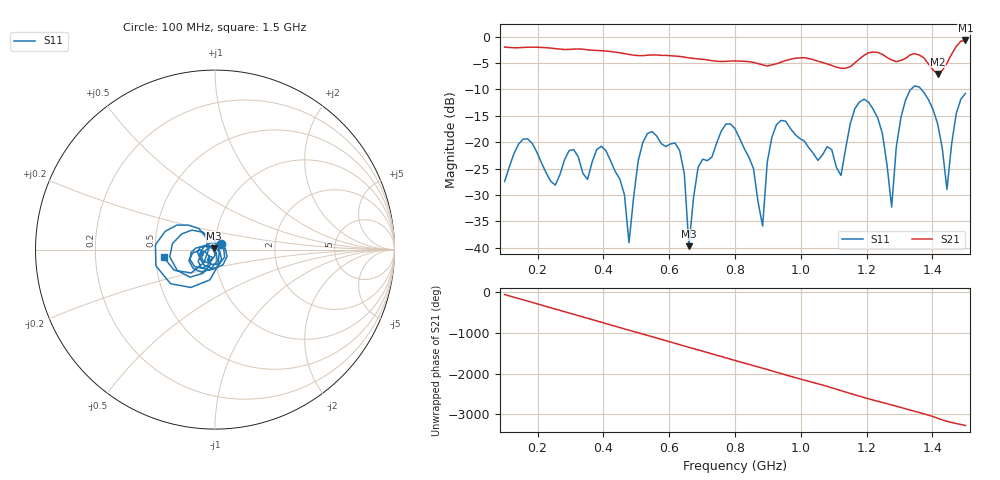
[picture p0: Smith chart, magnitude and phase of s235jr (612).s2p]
! NanoVNA-App
! Date: 2025-09-25 15:08:56
! Start: 100MHz Stop: 1,5GHz Points: 101
! S-Parameter data: F S11 S21 S12 S22
# Hz S RI R 50
!  Frequency  S11_Real  S11_Imag  S21_Real  S21_Imag  S12_Real  S12_Imag  S22_Real  S22_Imag
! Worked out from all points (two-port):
!   101 points, 100 MHz to 1.5 GHz, reference 50 ohm
!   highest |S21| = -0.71 dB at 1.5 GHz (marker M1); lowest = -7.1 dB at 1.416 GHz (marker M2)
!   |S21| within 3 dB of the highest: start of sweep to 626.9 MHz; 1.188 GHz to 1.257 GHz (68.08 MHz wide, 5.57 % of centre) (the widest 2 of 4)
!   lowest |S11| = -39.7 dB at 660 MHz (marker M3), VSWR 1.02, Z = 49.2 + j0.64 ohm
!   |S11| at or under -10 dB: start of sweep to 1.334 GHz; 1.366 GHz to end of sweep
!   S12 and S22 are empty: the file has one direction only
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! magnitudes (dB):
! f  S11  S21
! 100 MHz  -27.5  -2.0
! 156 MHz  -19.4  -2.0
! 338 MHz  -25.9  -2.4
! 408 MHz  -21.6  -2.7
! 478 MHz  -39.1  -3.4
! 520 MHz  -20.1  -3.6
! 576 MHz  -20.3  -3.5
! 632 MHz  -21.6  -3.7
! 660 MHz  -39.7  -4.0
! 688 MHz  -24.8  -4.2
! 800 MHz  -17.5  -4.6
! 884 MHz  -35.9  -5.3
! 926 MHz  -16.7  -5.1
! 1.038 GHz  -22.1  -4.4
! 1.122 GHz  -26.3  -6.0
! 1.206 GHz  -12.4  -3.0
! 1.248 GHz  -18.4  -3.4
! 1.276 GHz  -32.3  -4.4
! 1.332 GHz  -10.1  -3.5
! 1.416 GHz  -16.6  -7.1
! 1.444 GHz  -29.0  -5.0
! 1.5 GHz  -10.8  -0.7
